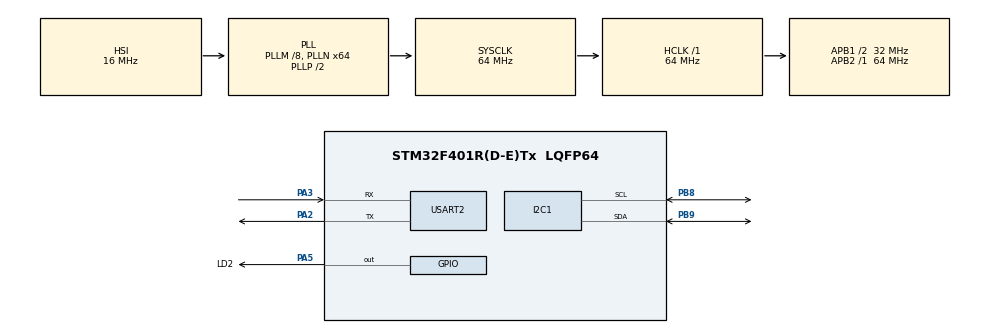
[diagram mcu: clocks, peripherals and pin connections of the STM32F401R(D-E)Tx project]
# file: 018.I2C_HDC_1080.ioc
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I2C1.I2C_Mode=I2C_Fast
Mcu.Family=STM32F4
Mcu.Name=STM32F401R(D-E)Tx
Mcu.Package=LQFP64
NVIC.PriorityGroup=NVIC_PRIORITYGROUP_4
PA13.Mode=Serial_Wire
PA13.Signal=SYS_JTMS-SWDIO
PA14.Mode=Serial_Wire
PA14.Signal=SYS_JTCK-SWCLK
PA2.Mode=Asynchronous
PA2.Signal=USART2_TX
PA3.Mode=Asynchronous
PA3.Signal=USART2_RX
PA5.GPIO_Label=LD2
PA5.Signal=GPIO_Output
PB8.Mode=I2C
PB8.Signal=I2C1_SCL
PB9.Mode=I2C
PB9.Signal=I2C1_SDA
ProjectManager.HeapSize=0x200
ProjectManager.StackSize=0x400
ProjectManager.TargetToolchain=STM32CubeIDE
RCC.48MHZClocksFreq_Value=32000000
RCC.AHBFreq_Value=64000000
RCC.APB1CLKDivider=RCC_HCLK_DIV2
RCC.APB1Freq_Value=32000000
RCC.APB1TimFreq_Value=64000000
RCC.APB2Freq_Value=64000000
RCC.APB2TimFreq_Value=64000000
RCC.CortexFreq_Value=64000000
RCC.HCLKFreq_Value=64000000
RCC.HSE_VALUE=25000000
RCC.HSI_VALUE=16000000
RCC.LSE_VALUE=32768
RCC.PLLM=8
RCC.PLLN=64
RCC.SYSCLKFreq_VALUE=64000000
RCC.SYSCLKSource=RCC_SYSCLKSOURCE_PLLCLK
RCC.VCOOutputFreq_Value=128000000
USART2.VirtualMode=VM_ASYNC
board=custom

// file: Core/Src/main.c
/* USER CODE BEGIN Header */
/**
  ******************************************************************************
  * @file           : main.c
  * @brief          : Main program body
  ******************************************************************************
  * @attention
  *
  * Copyright (c) 2025 STMicroelectronics.
  * All rights reserved.
  *
  * This software is licensed under terms that can be found in the LICENSE file
  * in the root directory of this software component.
  * If no LICENSE file comes with this software, it is provided AS-IS.
  *
  ******************************************************************************
  */
/* USER CODE END Header */
#include "main.h"

/* USER CODE BEGIN Includes */
#include <stdio.h>
#include "hdc1080/hdc1080.h"	//제공된 라이브러리 사용
/* USER CODE END Includes */

I2C_HandleTypeDef hi2c1;

UART_HandleTypeDef huart2;

void SystemClock_Config(void);
static void MX_GPIO_Init(void);
static void MX_I2C1_Init(void);
static void MX_USART2_UART_Init(void);

/* USER CODE BEGIN 0 */
#ifdef __GNUC__
#define PUTCHAR_PROTOTYPE int __io_putchar(int ch)
#else
#define PUTCHAR_PROTOTYPE int fputc(int ch, FILE *f)
#endif

PUTCHAR_PROTOTYPE
{
	if(ch == '\n')
	{
		HAL_UART_Transmit(&huart2, (uint8_t*)"\r", 1, 0xFFFF);
	}
	HAL_UART_Transmit(&huart2, (uint8_t*)&ch, 1, 0xFFFF);
	return ch;
}
/* USER CODE END 0 */

int main(void)
{

  /* USER CODE BEGIN 1 */
	uint8_t flag;
  /* USER CODE END 1 */

  /* MCU Configuration--------------------------------------------------------*/

  /* Reset of all peripherals, Initializes the Flash interface and the Systick. */
  HAL_Init();

  /* Configure the system clock */
  SystemClock_Config();

  /* Initialize all configured peripherals */
  MX_GPIO_Init();
  MX_I2C1_Init();
  MX_USART2_UART_Init();
  /* USER CODE BEGIN 2 */
  printf("\nNucleo_F401RE HDC1080 Program\n");
  printf("SysCLK\t\tFrequency = %ld\n", HAL_RCC_GetSysClockFreq());
  printf("HCLK\t\tFrequncy = %ld\n", HAL_RCC_GetHCLKFreq());
  printf("PCLK\t\tFrequency = %ld\n", HAL_RCC_GetPCLK1Freq());

  HAL_Delay(3000);
  /* USER CODE END 2 */

  /* Infinite loop */
  //chip id read code
#if 1
  uint8_t buf[4];
  HAL_StatusTypeDef error;

  //read register
  //call HDC1080 by address
  buf[0] = HDC1080_ID_DEV;
  error = HAL_I2C_Master_Transmit(&hi2c1, 0x40<<1, buf, 1, 100);
  if(error != HAL_OK)
  {
	  printf("error\n");
  }
  HAL_Delay(100);

  //receive 2byte result
  error = HAL_I2C_Master_Receive(&hi2c1, 0x40 << 1|0x01, buf, 2, 100);
  if(error != HAL_OK)
  {
	  printf("error\n");
  }

  printf("%x%x\n", buf[0], buf[1]);
#else
  uint16_t id
  hdc1080_read_reg(&hi2c1, HDC1080_ID_DEV, &reg);
  printf("\nHDC1080's ID = %x\n", id);
#endif
  float temp, humi;
  uint8_t bat_stat;

  hdc1080_init(&hi2c1, HDC1080_T_RES_14, HDC1080_T_RES_14, 1, &bat_stat);
  if(bat_stat)
  {
	  printf("supply voltage Vcc < 2.8V\n\n");
  }
  else
  {
	  printf("supply voltage Vcc > 2.8V\n\n");
  }
  while (1)
  {
	  flag = 1;
	  hdc1080_measure(&hi2c1, &temp, &humi, &flag);
	  printf("Temp=%2.2f Humi=%2.2f\n", temp, humi);

	  HAL_GPIO_TogglePin(LD2_GPIO_Port, LD2_Pin);
	  HAL_Delay(500);
  }
}

void SystemClock_Config(void)
{
  RCC_OscInitTypeDef RCC_OscInitStruct = {0};
  RCC_ClkInitTypeDef RCC_ClkInitStruct = {0};

  /** Configure the main internal regulator output voltage
  */
  __HAL_RCC_PWR_CLK_ENABLE();
  __HAL_PWR_VOLTAGESCALING_CONFIG(PWR_REGULATOR_VOLTAGE_SCALE2);

  /** Initializes the RCC Oscillators according to the specified parameters
  * in the RCC_OscInitTypeDef structure.
  */
  RCC_OscInitStruct.OscillatorType = RCC_OSCILLATORTYPE_HSI;
  RCC_OscInitStruct.HSIState = RCC_HSI_ON;
  RCC_OscInitStruct.HSICalibrationValue = RCC_HSICALIBRATION_DEFAULT;
  RCC_OscInitStruct.PLL.PLLState = RCC_PLL_ON;
  RCC_OscInitStruct.PLL.PLLSource = RCC_PLLSOURCE_HSI;
  RCC_OscInitStruct.PLL.PLLM = 8;
  RCC_OscInitStruct.PLL.PLLN = 64;
  RCC_OscInitStruct.PLL.PLLP = RCC_PLLP_DIV2;
  RCC_OscInitStruct.PLL.PLLQ = 4;
  if (HAL_RCC_OscConfig(&RCC_OscInitStruct) != HAL_OK)
  {
    Error_Handler();
  }

  /** Initializes the CPU, AHB and APB buses clocks
  */
  RCC_ClkInitStruct.ClockType = RCC_CLOCKTYPE_HCLK|RCC_CLOCKTYPE_SYSCLK
                              |RCC_CLOCKTYPE_PCLK1|RCC_CLOCKTYPE_PCLK2;
  RCC_ClkInitStruct.SYSCLKSource = RCC_SYSCLKSOURCE_PLLCLK;
  RCC_ClkInitStruct.AHBCLKDivider = RCC_SYSCLK_DIV1;
  RCC_ClkInitStruct.APB1CLKDivider = RCC_HCLK_DIV2;
  RCC_ClkInitStruct.APB2CLKDivider = RCC_HCLK_DIV1;

  if (HAL_RCC_ClockConfig(&RCC_ClkInitStruct, FLASH_LATENCY_2) != HAL_OK)
  {
    Error_Handler();
  }
}

static void MX_I2C1_Init(void)
{

  hi2c1.Instance = I2C1;
  hi2c1.Init.ClockSpeed = 400000;
  hi2c1.Init.DutyCycle = I2C_DUTYCYCLE_2;
  hi2c1.Init.OwnAddress1 = 0;
  hi2c1.Init.AddressingMode = I2C_ADDRESSINGMODE_7BIT;
  hi2c1.Init.DualAddressMode = I2C_DUALADDRESS_DISABLE;
  hi2c1.Init.OwnAddress2 = 0;
  hi2c1.Init.GeneralCallMode = I2C_GENERALCALL_DISABLE;
  hi2c1.Init.NoStretchMode = I2C_NOSTRETCH_DISABLE;
  if (HAL_I2C_Init(&hi2c1) != HAL_OK)
  {
    Error_Handler();
  }

}

static void MX_USART2_UART_Init(void)
{

  huart2.Instance = USART2;
  huart2.Init.BaudRate = 115200;
  huart2.Init.WordLength = UART_WORDLENGTH_8B;
  huart2.Init.StopBits = UART_STOPBITS_1;
  huart2.Init.Parity = UART_PARITY_NONE;
  huart2.Init.Mode = UART_MODE_TX_RX;
  huart2.Init.HwFlowCtl = UART_HWCONTROL_NONE;
  huart2.Init.OverSampling = UART_OVERSAMPLING_16;
  if (HAL_UART_Init(&huart2) != HAL_OK)
  {
    Error_Handler();
  }

}

static void MX_GPIO_Init(void)
{
  GPIO_InitTypeDef GPIO_InitStruct = {0};

  /* GPIO Ports Clock Enable */
  __HAL_RCC_GPIOA_CLK_ENABLE();
  __HAL_RCC_GPIOB_CLK_ENABLE();

  /*Configure GPIO pin Output Level */
  HAL_GPIO_WritePin(LD2_GPIO_Port, LD2_Pin, GPIO_PIN_RESET);

  /*Configure GPIO pin : LD2_Pin */
  GPIO_InitStruct.Pin = LD2_Pin;
  GPIO_InitStruct.Mode = GPIO_MODE_OUTPUT_PP;
  GPIO_InitStruct.Pull = GPIO_NOPULL;
  GPIO_InitStruct.Speed = GPIO_SPEED_FREQ_LOW;
  HAL_GPIO_Init(LD2_GPIO_Port, &GPIO_InitStruct);

}

void Error_Handler(void)
{
  __disable_irq();
  while (1)
  {
  }
}
